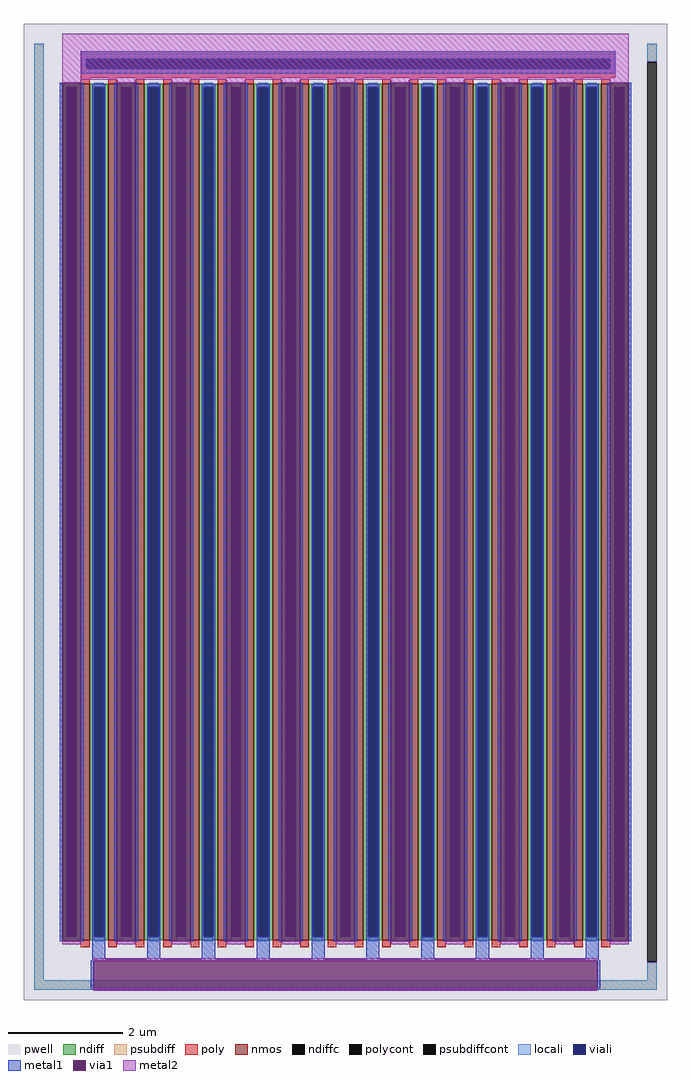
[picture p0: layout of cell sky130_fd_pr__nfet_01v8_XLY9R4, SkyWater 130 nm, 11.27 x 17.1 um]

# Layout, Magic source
magic
tech sky130A
magscale 1 2
<< pwell >>
rect -1127 -1710 1127 1710
<< nmos >>
rect -927 -1500 -897 1500
rect -831 -1500 -801 1500
rect -735 -1500 -705 1500
rect -639 -1500 -609 1500
rect -543 -1500 -513 1500
rect -447 -1500 -417 1500
rect -351 -1500 -321 1500
rect -255 -1500 -225 1500
rect -159 -1500 -129 1500
rect -63 -1500 -33 1500
rect 33 -1500 63 1500
rect 129 -1500 159 1500
rect 225 -1500 255 1500
rect 321 -1500 351 1500
rect 417 -1500 447 1500
rect 513 -1500 543 1500
rect 609 -1500 639 1500
rect 705 -1500 735 1500
rect 801 -1500 831 1500
rect 897 -1500 927 1500
<< ndiff >>
rect -989 1488 -927 1500
rect -989 -1488 -977 1488
rect -943 -1488 -927 1488
rect -989 -1500 -927 -1488
rect -897 1488 -831 1500
rect -897 -1488 -881 1488
rect -847 -1488 -831 1488
rect -897 -1500 -831 -1488
rect -801 1488 -735 1500
rect -801 -1488 -785 1488
rect -751 -1488 -735 1488
rect -801 -1500 -735 -1488
rect -705 1488 -639 1500
rect -705 -1488 -689 1488
rect -655 -1488 -639 1488
rect -705 -1500 -639 -1488
rect -609 1488 -543 1500
rect -609 -1488 -593 1488
rect -559 -1488 -543 1488
rect -609 -1500 -543 -1488
rect -513 1488 -447 1500
rect -513 -1488 -497 1488
rect -463 -1488 -447 1488
rect -513 -1500 -447 -1488
rect -417 1488 -351 1500
rect -417 -1488 -401 1488
rect -367 -1488 -351 1488
rect -417 -1500 -351 -1488
rect -321 1488 -255 1500
rect -321 -1488 -305 1488
rect -271 -1488 -255 1488
rect -321 -1500 -255 -1488
rect -225 1488 -159 1500
rect -225 -1488 -209 1488
rect -175 -1488 -159 1488
rect -225 -1500 -159 -1488
rect -129 1488 -63 1500
rect -129 -1488 -113 1488
rect -79 -1488 -63 1488
rect -129 -1500 -63 -1488
rect -33 1488 33 1500
rect -33 -1488 -17 1488
rect 17 -1488 33 1488
rect -33 -1500 33 -1488
rect 63 1488 129 1500
rect 63 -1488 79 1488
rect 113 -1488 129 1488
rect 63 -1500 129 -1488
rect 159 1488 225 1500
rect 159 -1488 175 1488
rect 209 -1488 225 1488
rect 159 -1500 225 -1488
rect 255 1488 321 1500
rect 255 -1488 271 1488
rect 305 -1488 321 1488
rect 255 -1500 321 -1488
rect 351 1488 417 1500
rect 351 -1488 367 1488
rect 401 -1488 417 1488
rect 351 -1500 417 -1488
rect 447 1488 513 1500
rect 447 -1488 463 1488
rect 497 -1488 513 1488
rect 447 -1500 513 -1488
rect 543 1488 609 1500
rect 543 -1488 559 1488
rect 593 -1488 609 1488
rect 543 -1500 609 -1488
rect 639 1488 705 1500
rect 639 -1488 655 1488
rect 689 -1488 705 1488
rect 639 -1500 705 -1488
rect 735 1488 801 1500
rect 735 -1488 751 1488
rect 785 -1488 801 1488
rect 735 -1500 801 -1488
rect 831 1488 897 1500
rect 831 -1488 847 1488
rect 881 -1488 897 1488
rect 831 -1500 897 -1488
rect 927 1488 989 1500
rect 927 -1488 943 1488
rect 977 -1488 989 1488
rect 927 -1500 989 -1488
<< ndiffc >>
rect -977 -1488 -943 1488
rect -881 -1488 -847 1488
rect -785 -1488 -751 1488
rect -689 -1488 -655 1488
rect -593 -1488 -559 1488
rect -497 -1488 -463 1488
rect -401 -1488 -367 1488
rect -305 -1488 -271 1488
rect -209 -1488 -175 1488
rect -113 -1488 -79 1488
rect -17 -1488 17 1488
rect 79 -1488 113 1488
rect 175 -1488 209 1488
rect 271 -1488 305 1488
rect 367 -1488 401 1488
rect 463 -1488 497 1488
rect 559 -1488 593 1488
rect 655 -1488 689 1488
rect 751 -1488 785 1488
rect 847 -1488 881 1488
rect 943 -1488 977 1488
<< psubdiff >>
rect -1091 -1640 -1057 1640
rect 1057 1578 1091 1640
rect 1057 -1640 1091 -1578
rect -1091 -1674 1091 -1640
<< psubdiffcont >>
rect 1057 -1578 1091 1578
<< poly >>
rect -927 1589 945 1614
rect -927 1554 -908 1589
rect 927 1554 945 1589
rect -927 1522 945 1554
rect -927 1500 -897 1522
rect -831 1500 -801 1522
rect -735 1500 -705 1522
rect -639 1500 -609 1522
rect -543 1500 -513 1522
rect -447 1500 -417 1522
rect -351 1500 -321 1522
rect -255 1500 -225 1522
rect -159 1500 -129 1522
rect -63 1500 -33 1522
rect 33 1500 63 1522
rect 129 1500 159 1522
rect 225 1500 255 1522
rect 321 1500 351 1522
rect 417 1500 447 1522
rect 513 1500 543 1522
rect 609 1500 639 1522
rect 705 1500 735 1522
rect 801 1500 831 1522
rect 897 1500 927 1522
rect -927 -1526 -897 -1500
rect -831 -1526 -801 -1500
rect -735 -1526 -705 -1500
rect -639 -1526 -609 -1500
rect -543 -1526 -513 -1500
rect -447 -1526 -417 -1500
rect -351 -1526 -321 -1500
rect -255 -1526 -225 -1500
rect -159 -1526 -129 -1500
rect -63 -1526 -33 -1500
rect 33 -1526 63 -1500
rect 129 -1526 159 -1500
rect 225 -1526 255 -1500
rect 321 -1526 351 -1500
rect 417 -1526 447 -1500
rect 513 -1526 543 -1500
rect 609 -1526 639 -1500
rect 705 -1526 735 -1500
rect 801 -1526 831 -1500
rect 897 -1526 927 -1500
<< polycont >>
rect -908 1554 927 1589
<< locali >>
rect -1091 -1640 -1057 1640
rect -924 1589 943 1605
rect -924 1554 -908 1589
rect 927 1554 943 1589
rect -924 1538 943 1554
rect 1057 1578 1091 1640
rect -977 1488 -943 1504
rect -977 -1504 -943 -1488
rect -881 1488 -847 1504
rect -881 -1504 -847 -1488
rect -785 1488 -751 1504
rect -785 -1504 -751 -1488
rect -689 1488 -655 1504
rect -689 -1504 -655 -1488
rect -593 1488 -559 1504
rect -593 -1504 -559 -1488
rect -497 1488 -463 1504
rect -497 -1504 -463 -1488
rect -401 1488 -367 1504
rect -401 -1504 -367 -1488
rect -305 1488 -271 1504
rect -305 -1504 -271 -1488
rect -209 1488 -175 1504
rect -209 -1504 -175 -1488
rect -113 1488 -79 1504
rect -113 -1504 -79 -1488
rect -17 1488 17 1504
rect -17 -1504 17 -1488
rect 79 1488 113 1504
rect 79 -1504 113 -1488
rect 175 1488 209 1504
rect 175 -1504 209 -1488
rect 271 1488 305 1504
rect 271 -1504 305 -1488
rect 367 1488 401 1504
rect 367 -1504 401 -1488
rect 463 1488 497 1504
rect 463 -1504 497 -1488
rect 559 1488 593 1504
rect 559 -1504 593 -1488
rect 655 1488 689 1504
rect 655 -1504 689 -1488
rect 751 1488 785 1504
rect 751 -1504 785 -1488
rect 847 1488 881 1504
rect 847 -1504 881 -1488
rect 943 1488 977 1504
rect 943 -1504 977 -1488
rect 1057 -1640 1091 -1578
rect -1091 -1674 1091 -1640
<< viali >>
rect -908 1554 927 1589
rect -977 -1488 -943 1488
rect -881 -1488 -847 1488
rect -785 -1488 -751 1488
rect -689 -1488 -655 1488
rect -593 -1488 -559 1488
rect -497 -1488 -463 1488
rect -401 -1488 -367 1488
rect -305 -1488 -271 1488
rect -209 -1488 -175 1488
rect -113 -1488 -79 1488
rect -17 -1488 17 1488
rect 79 -1488 113 1488
rect 175 -1488 209 1488
rect 271 -1488 305 1488
rect 367 -1488 401 1488
rect 463 -1488 497 1488
rect 559 -1488 593 1488
rect 655 -1488 689 1488
rect 751 -1488 785 1488
rect 847 -1488 881 1488
rect 943 -1488 977 1488
<< metal1 >>
rect -926 1589 946 1614
rect -926 1554 -908 1589
rect 927 1554 946 1589
rect -926 1536 946 1554
rect -1002 -1504 -992 1504
rect -928 -1504 -918 1504
rect -887 1488 -841 1500
rect -887 -1488 -881 1488
rect -847 -1488 -841 1488
rect -887 -1568 -841 -1488
rect -810 -1504 -800 1504
rect -736 -1504 -726 1504
rect -695 1488 -649 1500
rect -695 -1488 -689 1488
rect -655 -1488 -649 1488
rect -695 -1568 -649 -1488
rect -618 -1504 -608 1504
rect -544 -1504 -534 1504
rect -503 1488 -457 1500
rect -503 -1488 -497 1488
rect -463 -1488 -457 1488
rect -503 -1568 -457 -1488
rect -426 -1504 -416 1504
rect -352 -1504 -342 1504
rect -311 1488 -265 1500
rect -311 -1488 -305 1488
rect -271 -1488 -265 1488
rect -311 -1568 -265 -1488
rect -234 -1504 -224 1504
rect -160 -1504 -150 1504
rect -119 1488 -73 1500
rect -119 -1488 -113 1488
rect -79 -1488 -73 1488
rect -119 -1568 -73 -1488
rect -42 -1504 -32 1504
rect 32 -1504 42 1504
rect 73 1488 119 1500
rect 73 -1488 79 1488
rect 113 -1488 119 1488
rect 73 -1568 119 -1488
rect 150 -1504 160 1504
rect 224 -1504 234 1504
rect 265 1488 311 1500
rect 265 -1488 271 1488
rect 305 -1488 311 1488
rect 265 -1568 311 -1488
rect 342 -1504 352 1504
rect 416 -1504 426 1504
rect 457 1488 503 1500
rect 457 -1488 463 1488
rect 497 -1488 503 1488
rect 457 -1568 503 -1488
rect 534 -1504 544 1504
rect 608 -1504 618 1504
rect 649 1488 695 1500
rect 649 -1488 655 1488
rect 689 -1488 695 1488
rect 649 -1568 695 -1488
rect 726 -1504 736 1504
rect 800 -1504 810 1504
rect 841 1488 887 1500
rect 841 -1488 847 1488
rect 881 -1488 887 1488
rect 841 -1568 887 -1488
rect 918 -1504 928 1504
rect 992 -1504 1002 1504
rect -887 -1573 887 -1568
rect -893 -1668 -883 -1573
rect 882 -1668 892 -1573
rect -887 -1674 887 -1668
<< via1 >>
rect -992 1488 -928 1504
rect -992 -1488 -977 1488
rect -977 -1488 -943 1488
rect -943 -1488 -928 1488
rect -992 -1504 -928 -1488
rect -800 1488 -736 1504
rect -800 -1488 -785 1488
rect -785 -1488 -751 1488
rect -751 -1488 -736 1488
rect -800 -1504 -736 -1488
rect -608 1488 -544 1504
rect -608 -1488 -593 1488
rect -593 -1488 -559 1488
rect -559 -1488 -544 1488
rect -608 -1504 -544 -1488
rect -416 1488 -352 1504
rect -416 -1488 -401 1488
rect -401 -1488 -367 1488
rect -367 -1488 -352 1488
rect -416 -1504 -352 -1488
rect -224 1488 -160 1504
rect -224 -1488 -209 1488
rect -209 -1488 -175 1488
rect -175 -1488 -160 1488
rect -224 -1504 -160 -1488
rect -32 1488 32 1504
rect -32 -1488 -17 1488
rect -17 -1488 17 1488
rect 17 -1488 32 1488
rect -32 -1504 32 -1488
rect 160 1488 224 1504
rect 160 -1488 175 1488
rect 175 -1488 209 1488
rect 209 -1488 224 1488
rect 160 -1504 224 -1488
rect 352 1488 416 1504
rect 352 -1488 367 1488
rect 367 -1488 401 1488
rect 401 -1488 416 1488
rect 352 -1504 416 -1488
rect 544 1488 608 1504
rect 544 -1488 559 1488
rect 559 -1488 593 1488
rect 593 -1488 608 1488
rect 544 -1504 608 -1488
rect 736 1488 800 1504
rect 736 -1488 751 1488
rect 751 -1488 785 1488
rect 785 -1488 800 1488
rect 736 -1504 800 -1488
rect 928 1488 992 1504
rect 928 -1488 943 1488
rect 943 -1488 977 1488
rect 977 -1488 992 1488
rect 928 -1504 992 -1488
rect -883 -1668 882 -1573
<< metal2 >>
rect -992 1514 992 1675
rect -992 1504 -928 1514
rect -992 -1514 -928 -1504
rect -800 1504 -736 1514
rect -800 -1514 -736 -1504
rect -608 1504 -544 1514
rect -608 -1514 -544 -1504
rect -416 1504 -352 1514
rect -416 -1514 -352 -1504
rect -224 1504 -160 1514
rect -224 -1514 -160 -1504
rect -32 1504 32 1514
rect -32 -1514 32 -1504
rect 160 1504 224 1514
rect 160 -1514 224 -1504
rect 352 1504 416 1514
rect 352 -1514 416 -1504
rect 544 1504 608 1514
rect 544 -1514 608 -1504
rect 736 1504 800 1514
rect 736 -1514 800 -1504
rect 928 1504 992 1514
rect 928 -1514 992 -1504
rect -883 -1573 882 -1563
rect -883 -1678 882 -1668
<< properties >>
string gencell sky130_fd_pr__nfet_01v8
string FIXED_BBOX -1074 -1657 1074 1657
string parameters w 15 l 0.150 m 1 nf 20 diffcov 100 polycov 100 guard 1 glc 0 grc 1 gtc 1 gbc 0 tbcov 100 rlcov 100 topc 1 botc 0 poverlap 0 doverlap 1 lmin 0.15 wmin 0.42 compatible {sky130_fd_pr__nfet_01v8 sky130_fd_pr__nfet_01v8_lvt  sky130_fd_bs_flash__special_sonosfet_star  sky130_fd_pr__nfet_g5v0d10v5 sky130_fd_pr__nfet_05v0_nvt  sky130_fd_pr__nfet_03v3_nvt} full_metal 1 viasrc 100 viadrn 100 viagate 100 viagb 0 viagr 0 viagl 0 viagt 0
string library sky130
<< end >>
